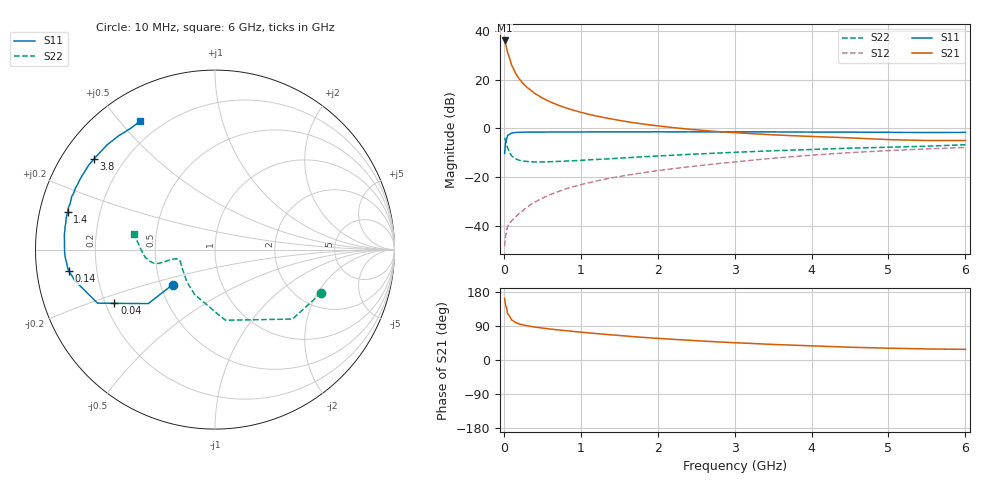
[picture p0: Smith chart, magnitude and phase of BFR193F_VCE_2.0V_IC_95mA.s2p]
! Infineon Technologies  Discrete & RF Semiconductors
! BFR193F
! VCE =  2.0 V,  IC =  95 mA
! Common Emitter S-Parameters:  Jan 2017
# GHz  S  MA  R  50
!  f  S11  S21  S12  S22
! GHz  MAG  ANG  MAG  ANG  MAG  ANG  MAG  ANG
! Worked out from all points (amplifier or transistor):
!   77 points, 10 MHz to 6 GHz, reference 50 ohm
!   highest |S21| = 36.1 dB at 10 MHz (marker M1)
!   |S21| within 3 dB of that: start of sweep to 34.89 MHz
!   unconditionally stable (mu >= 1): start of sweep to 11.34 MHz; 242.1 MHz to 3.306 GHz; 5.18 GHz to 5.763 GHz
!   at 130 MHz: K = 0.80, MSG = 30.7 dB, |S12| = -37.1 dB
!   at 2.2 GHz: K = 1.10, MAG = 6.6 dB, |S12| = -16.6 dB
!   at 6 GHz: K = 0.99, MSG = 1.4 dB, |S12| = -7.8 dB
!   S11 on the Smith chart (normalised r, x): 10 MHz: 0.58, -0.25; 40 MHz: 0.24, -0.24; 140 MHz: 0.10, -0.07; 1.4 GHz: 0.08, +0.12; 3.8 GHz: 0.10, +0.33; 6 GHz: 0.12, +0.57
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0.01  0.3054 -140.4  64.11 162.8  0.0038 69.5  0.6396 -22.1
0.02  0.4781 -141.0  57.15 147.3  0.0057 64.5  0.5797 -41.9
0.04  0.6351 -151.9  41.8 132.9  0.0084 51.7  0.432 -65.0
0.05  0.7194 -155.5  35.73 121.5  0.0098 48.0  0.398 -81.6
0.1  0.8009 -167.6  20.12 105.6  0.0126 48.1  0.2752 -114.3
0.14  0.8208 -171.5  15.01 100.8  0.0145 53.7  0.2438 -127.3
0.15  0.8264 -172.4  13.76 99.1  0.015 54.9  0.2382 -131.0
0.2  0.8307 -175.1  10.4 95.1  0.0181 58.6  0.2209 -140.3
0.25  0.8359 -177.2  8.344 92.5  0.0206 62.5  0.2122 -147.6
0.3  0.8378 -178.7  6.984 90.3  0.0241 64.6  0.2093 -151.6
0.4  0.8387 178.9  5.242 86.9  0.0303 69.1  0.2045 -157.7
0.5  0.8393 177.2  4.211 84.3  0.0368 71.7  0.2044 -160.9
0.7  0.8438 174.0  3.029 79.5  0.0497 74.1  0.2096 -164.3
0.9  0.8449 171.4  2.372 75.5  0.0632 75.9  0.2165 -166.2
1.1  0.8459 169.0  1.956 71.6  0.076 76.0  0.2258 -166.6
1.4  0.8467 165.8  1.561 66.3  0.096 76.0  0.2384 -167.0
2.1  0.8495 158.9  1.082 55.9  0.1419 75.1  0.2762 -166.7
3.1  0.8465 150.0  0.8 44.8  0.2118 71.9  0.3271 -166.4
3.8  0.8419 143.1  0.704 38.8  0.2663 68.0  0.3601 -168.8
4.1  0.8392 140.1  0.674 36.6  0.2886 66.0  0.3735 -170.7
5.1  0.8287 129.3  0.583 30.7  0.3552 58.5  0.4143 179.3
6  0.8282 120.3  0.565 28.1  0.4057 51.9  0.4621 169.2
